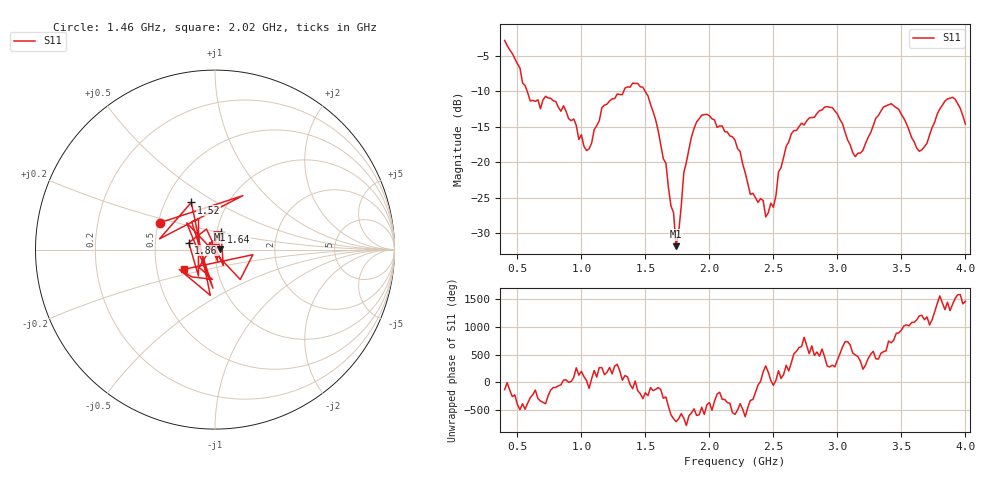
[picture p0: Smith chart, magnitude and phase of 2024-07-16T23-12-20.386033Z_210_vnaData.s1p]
!Created with skrf (http://scikit-rf.org).
# Hz S RI R 50.0
!freq ReS11 ImS11
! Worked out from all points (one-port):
!   181 points, 400 MHz to 4 GHz, reference 50 ohm
!   lowest |S11| = -31.8 dB at 1.74 GHz (marker M1), VSWR 1.05, Z = 52.6 + j0.251 ohm
!   |S11| at or under -10 dB: 576.8 MHz to 1.33 GHz (753.2 MHz wide, 79 % of centre); 1.499 GHz to end of sweep
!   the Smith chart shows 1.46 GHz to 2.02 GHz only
!   S11 on the Smith chart (normalised r, x): 1.46 GHz: 0.51, +0.17; 1.52 GHz: 0.68, +0.39; 1.64 GHz: 1.05, +0.21; 1.86 GHz: 0.74, +0.06; 2.02 GHz: 0.69, -0.16
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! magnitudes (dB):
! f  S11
! 400 MHz  -2.8
! 600 MHz  -11.3
! 860 MHz  -12.0
! 1.04 GHz  -18.3
! 1.16 GHz  -12.3
! 1.3 GHz  -10.4
! 1.46 GHz  -9.3
! 1.52 GHz  -10.6
! 1.64 GHz  -19.5
! 1.72 GHz  -27.1
! 1.74 GHz  -31.8
! 1.76 GHz  -29.8
! 1.8 GHz  -21.5
! 1.86 GHz  -16.4
! 2.02 GHz  -13.9
! 2.2 GHz  -16.9
! 2.32 GHz  -24.5
! 2.44 GHz  -27.7
! 2.5 GHz  -26.3
! 2.66 GHz  -15.5
! 2.96 GHz  -12.3
! 3.1 GHz  -17.5
! 3.18 GHz  -18.7
! 3.42 GHz  -11.7
! 3.56 GHz  -15.5
! 3.66 GHz  -18.2
! 3.9 GHz  -10.8
! 4 GHz  -14.6
